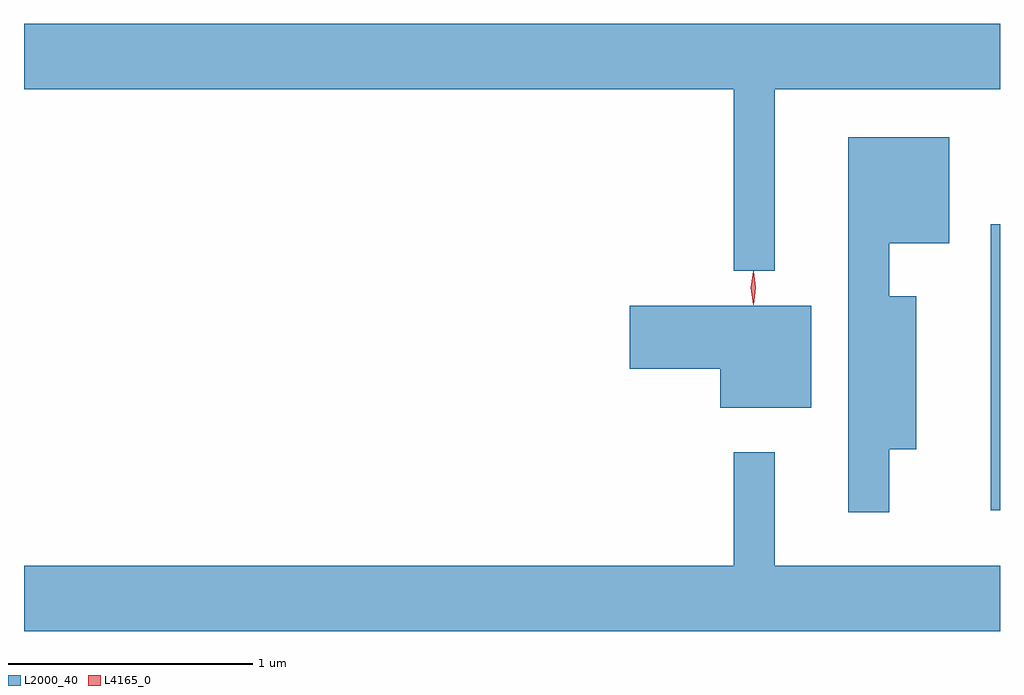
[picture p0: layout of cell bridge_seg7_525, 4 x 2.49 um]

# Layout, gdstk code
import gdstk
lib = gdstk.Library(unit=1e-6, precision=1e-09)
def R(c, l, rs):  # rectangles x0, y0, x1, y1
    for r in rs: c.add(gdstk.rectangle(r[:2], r[2:], *l))
def P(c, l, *ps):  # polygons
    for p in ps: c.add(gdstk.Polygon(p, *l))
L2000_40 = (2000, 40)
L4165_0 = (4165, 0)

bridge_seg7_525 = lib.new_cell('bridge_seg7_525')
R(bridge_seg7_525, L2000_40, [(892.766,1748.111,892.803,1749.284)])
P(bridge_seg7_525, L2000_40, [(891.879,1749.836),(892.803,1749.836),(892.803,1750.104),(888.803,1750.104),(888.803,1749.836),(891.711,1749.836),(891.711,1749.093),(891.879,1749.093)],
  [(892.349,1748.361),(892.459,1748.361),(892.459,1748.989),(892.349,1748.989),(892.349,1749.206),(892.594,1749.206),(892.594,1749.639),(892.181,1749.639),(892.181,1748.103),(892.349,1748.103)],
  [(892.029,1748.949),(891.286,1748.949),(891.286,1748.691),(891.656,1748.691),(891.656,1748.531),(892.029,1748.531)],
  [(892.803,1747.884),(891.879,1747.884),(891.879,1748.348),(891.711,1748.348),(891.711,1747.884),(888.803,1747.884),(888.803,1747.616),(892.803,1747.616)])
P(bridge_seg7_525, L4165_0, [(891.792,1748.954),(891.792,1748.954),(891.782,1749.022),(891.792,1749.09),(891.792,1749.09),(891.793,1749.09),(891.802,1749.022),(891.793,1748.954)],
  [(891.792,1748.96),(891.792,1748.96),(891.782,1749.023),(891.792,1749.086),(891.792,1749.087),(891.793,1749.086),(891.802,1749.023),(891.793,1748.96)])

lib.write_gds('bridge_seg7_525.gds')
